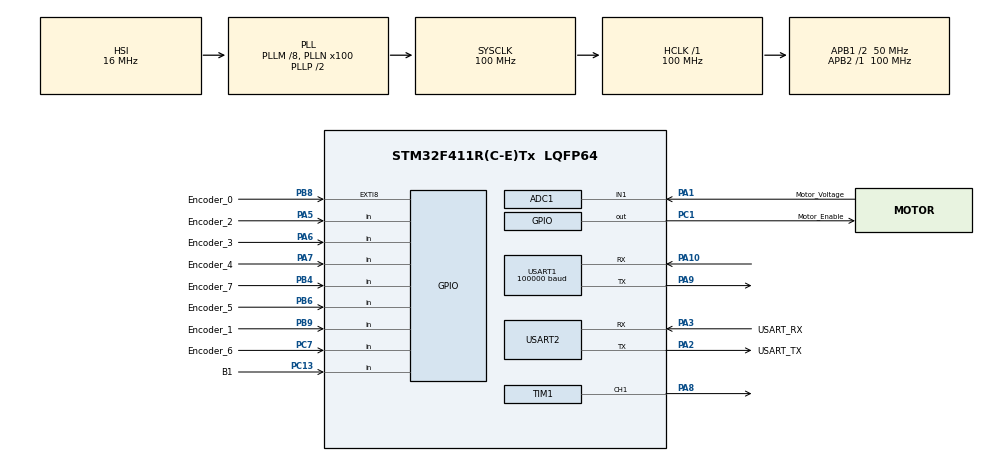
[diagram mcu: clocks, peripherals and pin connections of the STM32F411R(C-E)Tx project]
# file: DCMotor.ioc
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ADC1.Channel-6\#ChannelRegularConversion=ADC_CHANNEL_1
ADC1.ContinuousConvMode=DISABLE
ADC1.InjNumberOfConversion=0
ADC1.NbrOfConversion=1
ADC1.NbrOfConversionFlag=1
ADC1.Rank-6\#ChannelRegularConversion=1
ADC1.Resolution=ADC_RESOLUTION_12B
ADC1.SamplingTime-6\#ChannelRegularConversion=ADC_SAMPLETIME_3CYCLES
ADC1.master=1
Dma.Request0=USART1_RX
Dma.USART1_RX.0.Direction=DMA_PERIPH_TO_MEMORY
Dma.USART1_RX.0.FIFOMode=DMA_FIFOMODE_DISABLE
Dma.USART1_RX.0.Instance=DMA2_Stream2
Dma.USART1_RX.0.MemDataAlignment=DMA_MDATAALIGN_BYTE
Dma.USART1_RX.0.MemInc=DMA_MINC_ENABLE
Dma.USART1_RX.0.Mode=DMA_CIRCULAR
Dma.USART1_RX.0.PeriphDataAlignment=DMA_PDATAALIGN_BYTE
Dma.USART1_RX.0.PeriphInc=DMA_PINC_DISABLE
Dma.USART1_RX.0.Priority=DMA_PRIORITY_LOW
Mcu.Family=STM32F4
Mcu.Name=STM32F411R(C-E)Tx
Mcu.Package=LQFP64
NVIC.ADC_IRQn=true\:0\:0\:false\:false\:true\:true\:true\:true
NVIC.DMA2_Stream2_IRQn=true\:0\:0\:false\:false\:true\:false\:true\:true
NVIC.PriorityGroup=NVIC_PRIORITYGROUP_0
NVIC.USART2_IRQn=true\:0\:0\:false\:false\:true\:true\:true\:true
PA1.GPIO_Label=Motor_Voltage
PA1.Signal=ADCx_IN1
PA10.Mode=Asynchronous
PA10.Signal=USART1_RX
PA13.GPIO_Label=TMS
PA13.Mode=Serial_Wire
PA13.Signal=SYS_JTMS-SWDIO
PA14.GPIO_Label=TCK
PA14.Mode=Serial_Wire
PA14.Signal=SYS_JTCK-SWCLK
PA2.GPIO_Label=USART_TX
PA2.Mode=Asynchronous
PA2.Signal=USART2_TX
PA3.GPIO_Label=USART_RX
PA3.Mode=Asynchronous
PA3.Signal=USART2_RX
PA5.GPIO_Label=Encoder_2
PA5.Signal=GPIO_Input
PA6.GPIO_Label=Encoder_3
PA6.Signal=GPIO_Input
PA7.GPIO_Label=Encoder_4
PA7.Signal=GPIO_Input
PA8.Signal=S_TIM1_CH1
PA9.Mode=Asynchronous
PA9.Signal=USART1_TX
PB3.GPIO_Label=SWO
PB3.Signal=SYS_JTDO-SWO
PB4.GPIO_Label=Encoder_7
PB4.Signal=GPIO_Input
PB6.GPIO_Label=Encoder_5
PB6.Signal=GPIO_Input
PB8.GPIO_Label=Encoder_0
PB8.Signal=GPXTI8
PB9.GPIO_Label=Encoder_1
PB9.Signal=GPIO_Input
PC1.GPIO_Label=Motor_Enable
PC1.Signal=GPIO_Output
PC13-ANTI_TAMP.GPIO_Label=B1
PC13-ANTI_TAMP.GPIO_PuPd=GPIO_NOPULL
PC13-ANTI_TAMP.Signal=GPIO_Input
PC14-OSC32_IN.Mode=LSE-External-Oscillator
PC14-OSC32_IN.Signal=RCC_OSC32_IN
PC15-OSC32_OUT.Mode=LSE-External-Oscillator
PC15-OSC32_OUT.Signal=RCC_OSC32_OUT
PC7.GPIO_Label=Encoder_6
PC7.GPIO_PuPd=GPIO_NOPULL
PC7.Signal=GPIO_Input
PH0\ -\ OSC_IN.Mode=HSE-External-Clock-Source
PH0\ -\ OSC_IN.Signal=RCC_OSC_IN
PH1\ -\ OSC_OUT.Mode=HSE-External-Clock-Source
PH1\ -\ OSC_OUT.Signal=RCC_OSC_OUT
ProjectManager.HeapSize=0x200
ProjectManager.StackSize=0x400
ProjectManager.TargetToolchain=STM32CubeIDE
RCC.48MHZClocksFreq_Value=50000000
RCC.AHBFreq_Value=100000000
RCC.APB1CLKDivider=RCC_HCLK_DIV2
RCC.APB1Freq_Value=50000000
RCC.APB1TimFreq_Value=100000000
RCC.APB2Freq_Value=100000000
RCC.APB2TimFreq_Value=100000000
RCC.CortexFreq_Value=100000000
RCC.FLatency-AdvancedSettings=FLASH_LATENCY_3
RCC.HCLKFreq_Value=100000000
RCC.HSE_VALUE=8000000
RCC.HSI_VALUE=16000000
RCC.PLLM=8
RCC.PLLN=100
RCC.SYSCLKFreq_VALUE=100000000
RCC.SYSCLKSource=RCC_SYSCLKSOURCE_PLLCLK
RCC.VCOOutputFreq_Value=200000000
SH.ADCx_IN1.0=ADC1_IN1,IN1
SH.S_TIM1_CH1.0=TIM1_CH1,PWM Generation1 CH1
TIM1.Channel-PWM\ Generation1\ CH1=TIM_CHANNEL_1
TIM1.OCFastMode_PWM-PWM\ Generation1\ CH1=TIM_OCFAST_ENABLE
TIM1.Period=1000-1
TIM1.Prescaler=4-1
USART1.BaudRate=100000
USART1.Mode=MODE_RX
USART1.Parity=PARITY_EVEN
USART1.StopBits=STOPBITS_2
USART1.VirtualMode=VM_ASYNC
USART2.VirtualMode=VM_ASYNC
VP_TIM1_VS_ClockSourceINT.Mode=Internal
VP_TIM2_VS_ClockSourceINT.Mode=Internal
board=NUCLEO-F411RE

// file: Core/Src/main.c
/* USER CODE BEGIN Header */
/**
  ******************************************************************************
  * @file           : main.c
  * @brief          : Main program body
  ******************************************************************************
  * @attention
  *
  * Copyright (c) 2023 STMicroelectronics.
  * All rights reserved.
  *
  * This software is licensed under terms that can be found in the LICENSE file
  * in the root directory of this software component.
  * If no LICENSE file comes with this software, it is provided AS-IS.
  *
  ******************************************************************************
  */
/* USER CODE END Header */
#include "main.h"

/* USER CODE BEGIN Includes */
#include <stdio.h>
#include "Sbus.h"
#include "encoder.h"
#include "PID.h"
/* USER CODE END Includes */

/* USER CODE BEGIN PTD */
tsbus receivedSBUS;
uint32_t SystemTime = 0;
encoder_data TestEncoder;
PID_Controller PID;
int speedChangerPulse=0;
int messageUpdateTime=0;
int speedUpdateTime=0;
int uart2Free=1;
int OperationMode=0;
int PreviousOperationMode=0;
uint32_t Timer2Counter=0;
int ADCReadingInProgress=0;
uint32_t MotorVoltageRaw=0;
int32_t ProcessValue=0;
int ModuloSetpoint;
int ModuloFeedback;
/* USER CODE END PTD */

ADC_HandleTypeDef hadc1;

TIM_HandleTypeDef htim1;
TIM_HandleTypeDef htim2;

UART_HandleTypeDef huart1;
UART_HandleTypeDef huart2;
DMA_HandleTypeDef hdma_usart1_rx;

/* USER CODE BEGIN PV */
void HAL_UART_RxCpltCallback(UART_HandleTypeDef *huart){
	if (huart == &huart1){
		ParseSBUS(&receivedSBUS);
	}
}
void HAL_UART_TxCpltCallback(UART_HandleTypeDef *huart){
	if (huart == &huart2){
		uart2Free=1;
	}
}
#ifdef ENCODER_INTERRUPT_MODE
void HAL_GPIO_EXTI_Callback(uint16_t GPIO_Pin)
{
  if(GPIO_Pin==Encoder_A_Pin){TestEncoder.IT_EncoderChA= HAL_GPIO_ReadPin(Encoder_A_GPIO_Port, Encoder_A_Pin);}
  else if (GPIO_Pin==Encoder_B_Pin){TestEncoder.IT_EncoderChB= HAL_GPIO_ReadPin(Encoder_B_GPIO_Port, Encoder_B_Pin);}
}
#endif
#ifdef ENCODER_TIMER_MODE
void HAL_TIM_IC_CaptureCallback(TIM_HandleTypeDef *htim){
	if (htim == &htim2){
		TestEncoder.EncoderValue = __HAL_TIM_GET_COUNTER(htim);
	}
}
#endif
/* USER CODE END PV */

void SystemClock_Config(void);
static void MX_GPIO_Init(void);
static void MX_DMA_Init(void);
static void MX_USART2_UART_Init(void);
static void MX_TIM1_Init(void);
static void MX_USART1_UART_Init(void);
static void MX_ADC1_Init(void);
static void MX_TIM2_Init(void);

int main(void)
{

  /* MCU Configuration--------------------------------------------------------*/

  /* Reset of all peripherals, Initializes the Flash interface and the Systick. */
  HAL_Init();

  /* Configure the system clock */
  SystemClock_Config();

  /* Initialize all configured peripherals */
  MX_GPIO_Init();
  MX_DMA_Init();
  MX_USART2_UART_Init();
  MX_TIM1_Init();
  MX_USART1_UART_Init();
  MX_ADC1_Init();
  MX_TIM2_Init();
  /* USER CODE BEGIN 2 */
  HAL_UART_Receive_DMA(&huart1, &receivedSBUS.ReceivedData[0], SBUS_LEN);
  HAL_TIM_Base_Start_IT(&htim1);
  HAL_TIM_Base_Start(&htim2);
  HAL_ADC_Start(&hadc1);
  HAL_TIM_PWM_Start(&htim1, TIM_CHANNEL_1);
  SystemTime=HAL_GetTick();
  TestEncoder.PreviusGrayCode=0;
  TestEncoder.EncoderValue=0;
  TestEncoder.PreviousEncoderValue=0;
  TestEncoder.SpeedRPM=0;
  TestEncoder.direction=CW;
  PID.Kp=5;
  PID.Ki=0.6;
  PID.Kd=0.1;
  PID.dt=10;
  PID.integral=0;
  PID.min_output= 0;
  PID.max_output= 1000;
  PID.min_Integral= -500;
  PID.max_Integral= 500;
  PID.output=5000;
  PID.target=0;
  HAL_GPIO_WritePin(Motor_Enable_GPIO_Port, Motor_Enable_Pin, GPIO_PIN_SET);
  /* USER CODE END 2 */

  /* Infinite loop */
  /* USER CODE BEGIN WHILE */

  while (1)
  {

	  //read Encoder
	  GetEncoderValue(&TestEncoder);
	  //reading SBUS from remote controller and writing PWM output
	  if (!HAL_GPIO_ReadPin(B1_GPIO_Port, B1_Pin)){
		  while(!HAL_GPIO_ReadPin(B1_GPIO_Port, B1_Pin)){}
		  if (OperationMode==3){
			  OperationMode=0;
		  }
		  else OperationMode++;
	  }
	  switch (OperationMode) {
	  case 0://get speed command from remote controller
		  PID.Kp=1.2;
		  PID.Ki=0.8;
		  PID.Kd=0;
		  PID.target = 0 ;
		  ProcessValue= TestEncoder.SpeedRPM;
		  PID.ControlMode=Velocity;
		  PreviousOperationMode=OperationMode;
		  break;
	  case 1: //Position control
		  if (PreviousOperationMode!=OperationMode){
			  PID.Kp=0.75;
			  PID.Ki=0.08;
			  PID.Kd=0.16;
			  PID.output=0;
			  PID.target=0;
			  PID.integral=0;
		  }

		  if (receivedSBUS.ch[2]>200 && receivedSBUS.ch[2]<1800){
			  ModuloSetpoint = (receivedSBUS.ch[2]-200)*360/1600;
		  }
		  else if(receivedSBUS.ch[2]<200){
			  ModuloSetpoint=0;
		  }
		  else if(receivedSBUS.ch[2]>1800){
			  ModuloSetpoint=360;
		  }
		  PID.target = ModuloSetpoint *256/360;
		  PID.ControlMode=Position;
		  ProcessValue= TestEncoder.GrayCode;
		  ModuloFeedback= ProcessValue*360/256;
		  PreviousOperationMode=OperationMode;
		  break;
	  case 2:
		  PID.Kp=1.2;
		  PID.Ki=0.8;
		  PID.Kd=0;
		  PID.ControlMode=Velocity;
		  if (receivedSBUS.ch[1]>1000 && receivedSBUS.ch[1]<2000){
			  PID.target = 2* ( receivedSBUS.ch[1]-1000);
		  }
		  else if (receivedSBUS.ch[1]>0 && receivedSBUS.ch[1]<990){
			  PID.target = -2* (990- receivedSBUS.ch[1]);
		  }
		  else{
			  PID.target=0;
		  }
		  ProcessValue= TestEncoder.SpeedRPM;
		  PreviousOperationMode=OperationMode;
		  break;
	  case 3: // toggle speed automatically
		  if (PreviousOperationMode!=OperationMode){
			  PID.Kp=1.2;
			  PID.Ki=0.8;
			  PID.Kd=0;
			  PID.target=250;
		  }
		  PID.ControlMode=Velocity;
		  if(HAL_GetTick()-speedUpdateTime>=10000){
	 		  if(PID.target==-250) PID.target=250;
	 		  else if (PID.target==250) PID.target=-250;
	 		  speedUpdateTime=HAL_GetTick();

		  }
		  ProcessValue= TestEncoder.SpeedRPM;
		  PreviousOperationMode=OperationMode;
		  break;

	  }

	  //Calculate RPM
	  //with motor Voltage

	  Timer2Counter=__HAL_TIM_GET_COUNTER(&htim2);
	  if (Timer2Counter>=1000000 || ADCReadingInProgress){//every 100 @ 100MHZ will be 1 micro-second so 1000000 will be 10ms
		  if (ADCReadingInProgress==0){
			  __HAL_TIM_SET_COUNTER(&htim2,0);
		  }
		  ADCReadingInProgress= __HAL_TIM_GET_COUNTER(&htim2);
		  HAL_GPIO_WritePin(Motor_Enable_GPIO_Port, Motor_Enable_Pin, GPIO_PIN_RESET);
		  if (ADCReadingInProgress>=25000){//wait 250 usec before reading ADC
			  int ADCStatus=10;
			  ADCStatus=HAL_ADC_PollForConversion(&hadc1,1);
			  if(ADCStatus==0){
				  MotorVoltageRaw=HAL_ADC_GetValue(&hadc1);
				  HAL_ADC_Start(&hadc1);
				  __HAL_TIM_SET_COUNTER(&htim2,0);
				  HAL_GPIO_WritePin(Motor_Enable_GPIO_Port, Motor_Enable_Pin, GPIO_PIN_SET);
				  ADCReadingInProgress=0;
			  }
		  }

	  }
	  //with Encoder
	  if (HAL_GetTick()-SystemTime>=(PID.dt)){
		  TestEncoder.SpeedRPM=(TestEncoder.EncoderValue-TestEncoder.PreviousEncoderValue)*(1000/PID.dt)*60/256;//1000/dt for converting to pulse per second - 60 for 1sec to 1min - 256 for pules/rev - for gray code to pulse
		  TestEncoder.PreviousEncoderValue=TestEncoder.EncoderValue;
		  SystemTime=HAL_GetTick();
		  updatePID(&PID, ProcessValue);
		  __HAL_TIM_SET_COMPARE(&htim1,TIM_CHANNEL_1,PID.output);
	  }
	  if (HAL_GetTick()-messageUpdateTime>=50){
		  char message[100];
		  int messagaLen=0;
		  messagaLen=sprintf(&message,"Spd=%ld, SpdSet=%f,PosSet=%d, PosFB=%d, Volt=%d T=%d ,\n",ProcessValue,PID.target,ModuloSetpoint,ModuloFeedback,(MotorVoltageRaw*6/10)-1200,messageUpdateTime);
		  if (uart2Free==1){
			  HAL_UART_Transmit_IT(&huart2, message, messagaLen);
			  uart2Free=0;
		  }
		  messageUpdateTime=HAL_GetTick();
	  }

    /* USER CODE END WHILE */

  }
}

void SystemClock_Config(void)
{
  RCC_OscInitTypeDef RCC_OscInitStruct = {0};
  RCC_ClkInitTypeDef RCC_ClkInitStruct = {0};

  /** Configure the main internal regulator output voltage
  */
  __HAL_RCC_PWR_CLK_ENABLE();
  __HAL_PWR_VOLTAGESCALING_CONFIG(PWR_REGULATOR_VOLTAGE_SCALE1);

  /** Initializes the RCC Oscillators according to the specified parameters
  * in the RCC_OscInitTypeDef structure.
  */
  RCC_OscInitStruct.OscillatorType = RCC_OSCILLATORTYPE_HSI;
  RCC_OscInitStruct.HSIState = RCC_HSI_ON;
  RCC_OscInitStruct.HSICalibrationValue = RCC_HSICALIBRATION_DEFAULT;
  RCC_OscInitStruct.PLL.PLLState = RCC_PLL_ON;
  RCC_OscInitStruct.PLL.PLLSource = RCC_PLLSOURCE_HSI;
  RCC_OscInitStruct.PLL.PLLM = 8;
  RCC_OscInitStruct.PLL.PLLN = 100;
  RCC_OscInitStruct.PLL.PLLP = RCC_PLLP_DIV2;
  RCC_OscInitStruct.PLL.PLLQ = 4;
  if (HAL_RCC_OscConfig(&RCC_OscInitStruct) != HAL_OK)
  {
    Error_Handler();
  }

  /** Initializes the CPU, AHB and APB buses clocks
  */
  RCC_ClkInitStruct.ClockType = RCC_CLOCKTYPE_HCLK|RCC_CLOCKTYPE_SYSCLK
                              |RCC_CLOCKTYPE_PCLK1|RCC_CLOCKTYPE_PCLK2;
  RCC_ClkInitStruct.SYSCLKSource = RCC_SYSCLKSOURCE_PLLCLK;
  RCC_ClkInitStruct.AHBCLKDivider = RCC_SYSCLK_DIV1;
  RCC_ClkInitStruct.APB1CLKDivider = RCC_HCLK_DIV2;
  RCC_ClkInitStruct.APB2CLKDivider = RCC_HCLK_DIV1;

  if (HAL_RCC_ClockConfig(&RCC_ClkInitStruct, FLASH_LATENCY_3) != HAL_OK)
  {
    Error_Handler();
  }
}

static void MX_ADC1_Init(void)
{

  ADC_ChannelConfTypeDef sConfig = {0};

  /** Configure the global features of the ADC (Clock, Resolution, Data Alignment and number of conversion)
  */
  hadc1.Instance = ADC1;
  hadc1.Init.ClockPrescaler = ADC_CLOCK_SYNC_PCLK_DIV4;
  hadc1.Init.Resolution = ADC_RESOLUTION_12B;
  hadc1.Init.ScanConvMode = DISABLE;
  hadc1.Init.ContinuousConvMode = DISABLE;
  hadc1.Init.DiscontinuousConvMode = DISABLE;
  hadc1.Init.ExternalTrigConvEdge = ADC_EXTERNALTRIGCONVEDGE_NONE;
  hadc1.Init.ExternalTrigConv = ADC_SOFTWARE_START;
  hadc1.Init.DataAlign = ADC_DATAALIGN_RIGHT;
  hadc1.Init.NbrOfConversion = 1;
  hadc1.Init.DMAContinuousRequests = DISABLE;
  hadc1.Init.EOCSelection = ADC_EOC_SINGLE_CONV;
  if (HAL_ADC_Init(&hadc1) != HAL_OK)
  {
    Error_Handler();
  }

  /** Configure for the selected ADC regular channel its corresponding rank in the sequencer and its sample time.
  */
  sConfig.Channel = ADC_CHANNEL_1;
  sConfig.Rank = 1;
  sConfig.SamplingTime = ADC_SAMPLETIME_3CYCLES;
  if (HAL_ADC_ConfigChannel(&hadc1, &sConfig) != HAL_OK)
  {
    Error_Handler();
  }

}

static void MX_TIM1_Init(void)
{

  TIM_ClockConfigTypeDef sClockSourceConfig = {0};
  TIM_MasterConfigTypeDef sMasterConfig = {0};
  TIM_OC_InitTypeDef sConfigOC = {0};
  TIM_BreakDeadTimeConfigTypeDef sBreakDeadTimeConfig = {0};

  htim1.Instance = TIM1;
  htim1.Init.Prescaler = 4-1;
  htim1.Init.CounterMode = TIM_COUNTERMODE_UP;
  htim1.Init.Period = 1000-1;
  htim1.Init.ClockDivision = TIM_CLOCKDIVISION_DIV1;
  htim1.Init.RepetitionCounter = 0;
  htim1.Init.AutoReloadPreload = TIM_AUTORELOAD_PRELOAD_DISABLE;
  if (HAL_TIM_Base_Init(&htim1) != HAL_OK)
  {
    Error_Handler();
  }
  sClockSourceConfig.ClockSource = TIM_CLOCKSOURCE_INTERNAL;
  if (HAL_TIM_ConfigClockSource(&htim1, &sClockSourceConfig) != HAL_OK)
  {
    Error_Handler();
  }
  if (HAL_TIM_PWM_Init(&htim1) != HAL_OK)
  {
    Error_Handler();
  }
  sMasterConfig.MasterOutputTrigger = TIM_TRGO_RESET;
  sMasterConfig.MasterSlaveMode = TIM_MASTERSLAVEMODE_DISABLE;
  if (HAL_TIMEx_MasterConfigSynchronization(&htim1, &sMasterConfig) != HAL_OK)
  {
    Error_Handler();
  }
  sConfigOC.OCMode = TIM_OCMODE_PWM1;
  sConfigOC.Pulse = 0;
  sConfigOC.OCPolarity = TIM_OCPOLARITY_HIGH;
  sConfigOC.OCNPolarity = TIM_OCNPOLARITY_HIGH;
  sConfigOC.OCFastMode = TIM_OCFAST_ENABLE;
  sConfigOC.OCIdleState = TIM_OCIDLESTATE_RESET;
  sConfigOC.OCNIdleState = TIM_OCNIDLESTATE_RESET;
  if (HAL_TIM_PWM_ConfigChannel(&htim1, &sConfigOC, TIM_CHANNEL_1) != HAL_OK)
  {
    Error_Handler();
  }
  sBreakDeadTimeConfig.OffStateRunMode = TIM_OSSR_DISABLE;
  sBreakDeadTimeConfig.OffStateIDLEMode = TIM_OSSI_DISABLE;
  sBreakDeadTimeConfig.LockLevel = TIM_LOCKLEVEL_OFF;
  sBreakDeadTimeConfig.DeadTime = 0;
  sBreakDeadTimeConfig.BreakState = TIM_BREAK_DISABLE;
  sBreakDeadTimeConfig.BreakPolarity = TIM_BREAKPOLARITY_HIGH;
  sBreakDeadTimeConfig.AutomaticOutput = TIM_AUTOMATICOUTPUT_DISABLE;
  if (HAL_TIMEx_ConfigBreakDeadTime(&htim1, &sBreakDeadTimeConfig) != HAL_OK)
  {
    Error_Handler();
  }
  HAL_TIM_MspPostInit(&htim1);

}

static void MX_TIM2_Init(void)
{

  TIM_ClockConfigTypeDef sClockSourceConfig = {0};
  TIM_MasterConfigTypeDef sMasterConfig = {0};

  htim2.Instance = TIM2;
  htim2.Init.Prescaler = 0;
  htim2.Init.CounterMode = TIM_COUNTERMODE_UP;
  htim2.Init.Period = 4294967295;
  htim2.Init.ClockDivision = TIM_CLOCKDIVISION_DIV1;
  htim2.Init.AutoReloadPreload = TIM_AUTORELOAD_PRELOAD_DISABLE;
  if (HAL_TIM_Base_Init(&htim2) != HAL_OK)
  {
    Error_Handler();
  }
  sClockSourceConfig.ClockSource = TIM_CLOCKSOURCE_INTERNAL;
  if (HAL_TIM_ConfigClockSource(&htim2, &sClockSourceConfig) != HAL_OK)
  {
    Error_Handler();
  }
  sMasterConfig.MasterOutputTrigger = TIM_TRGO_RESET;
  sMasterConfig.MasterSlaveMode = TIM_MASTERSLAVEMODE_DISABLE;
  if (HAL_TIMEx_MasterConfigSynchronization(&htim2, &sMasterConfig) != HAL_OK)
  {
    Error_Handler();
  }

}

static void MX_USART1_UART_Init(void)
{

  huart1.Instance = USART1;
  huart1.Init.BaudRate = 100000;
  huart1.Init.WordLength = UART_WORDLENGTH_8B;
  huart1.Init.StopBits = UART_STOPBITS_2;
  huart1.Init.Parity = UART_PARITY_EVEN;
  huart1.Init.Mode = UART_MODE_RX;
  huart1.Init.HwFlowCtl = UART_HWCONTROL_NONE;
  huart1.Init.OverSampling = UART_OVERSAMPLING_16;
  if (HAL_UART_Init(&huart1) != HAL_OK)
  {
    Error_Handler();
  }

}

static void MX_USART2_UART_Init(void)
{

  huart2.Instance = USART2;
  huart2.Init.BaudRate = 115200;
  huart2.Init.WordLength = UART_WORDLENGTH_8B;
  huart2.Init.StopBits = UART_STOPBITS_1;
  huart2.Init.Parity = UART_PARITY_NONE;
  huart2.Init.Mode = UART_MODE_TX_RX;
  huart2.Init.HwFlowCtl = UART_HWCONTROL_NONE;
  huart2.Init.OverSampling = UART_OVERSAMPLING_16;
  if (HAL_UART_Init(&huart2) != HAL_OK)
  {
    Error_Handler();
  }

}

static void MX_DMA_Init(void)
{

  /* DMA controller clock enable */
  __HAL_RCC_DMA2_CLK_ENABLE();

  /* DMA interrupt init */
  /* DMA2_Stream2_IRQn interrupt configuration */
  HAL_NVIC_SetPriority(DMA2_Stream2_IRQn, 0, 0);
  HAL_NVIC_EnableIRQ(DMA2_Stream2_IRQn);

}

static void MX_GPIO_Init(void)
{
  GPIO_InitTypeDef GPIO_InitStruct = {0};

  /* GPIO Ports Clock Enable */
  __HAL_RCC_GPIOC_CLK_ENABLE();
  __HAL_RCC_GPIOH_CLK_ENABLE();
  __HAL_RCC_GPIOA_CLK_ENABLE();
  __HAL_RCC_GPIOB_CLK_ENABLE();

  /*Configure GPIO pin Output Level */
  HAL_GPIO_WritePin(Motor_Enable_GPIO_Port, Motor_Enable_Pin, GPIO_PIN_RESET);

  /*Configure GPIO pins : B1_Pin Encoder_6_Pin */
  GPIO_InitStruct.Pin = B1_Pin|Encoder_6_Pin;
  GPIO_InitStruct.Mode = GPIO_MODE_INPUT;
  GPIO_InitStruct.Pull = GPIO_NOPULL;
  HAL_GPIO_Init(GPIOC, &GPIO_InitStruct);

  /*Configure GPIO pin : Motor_Enable_Pin */
  GPIO_InitStruct.Pin = Motor_Enable_Pin;
  GPIO_InitStruct.Mode = GPIO_MODE_OUTPUT_PP;
  GPIO_InitStruct.Pull = GPIO_NOPULL;
  GPIO_InitStruct.Speed = GPIO_SPEED_FREQ_LOW;
  HAL_GPIO_Init(Motor_Enable_GPIO_Port, &GPIO_InitStruct);

  /*Configure GPIO pins : Encoder_2_Pin Encoder_3_Pin Encoder_4_Pin */
  GPIO_InitStruct.Pin = Encoder_2_Pin|Encoder_3_Pin|Encoder_4_Pin;
  GPIO_InitStruct.Mode = GPIO_MODE_INPUT;
  GPIO_InitStruct.Pull = GPIO_NOPULL;
  HAL_GPIO_Init(GPIOA, &GPIO_InitStruct);

  /*Configure GPIO pins : Encoder_7_Pin Encoder_5_Pin Encoder_1_Pin */
  GPIO_InitStruct.Pin = Encoder_7_Pin|Encoder_5_Pin|Encoder_1_Pin;
  GPIO_InitStruct.Mode = GPIO_MODE_INPUT;
  GPIO_InitStruct.Pull = GPIO_NOPULL;
  HAL_GPIO_Init(GPIOB, &GPIO_InitStruct);

  /*Configure GPIO pin : Encoder_0_Pin */
  GPIO_InitStruct.Pin = Encoder_0_Pin;
  GPIO_InitStruct.Mode = GPIO_MODE_IT_RISING;
  GPIO_InitStruct.Pull = GPIO_NOPULL;
  HAL_GPIO_Init(Encoder_0_GPIO_Port, &GPIO_InitStruct);

}

void Error_Handler(void)
{
  __disable_irq();
  while (1)
  {
  }
}
